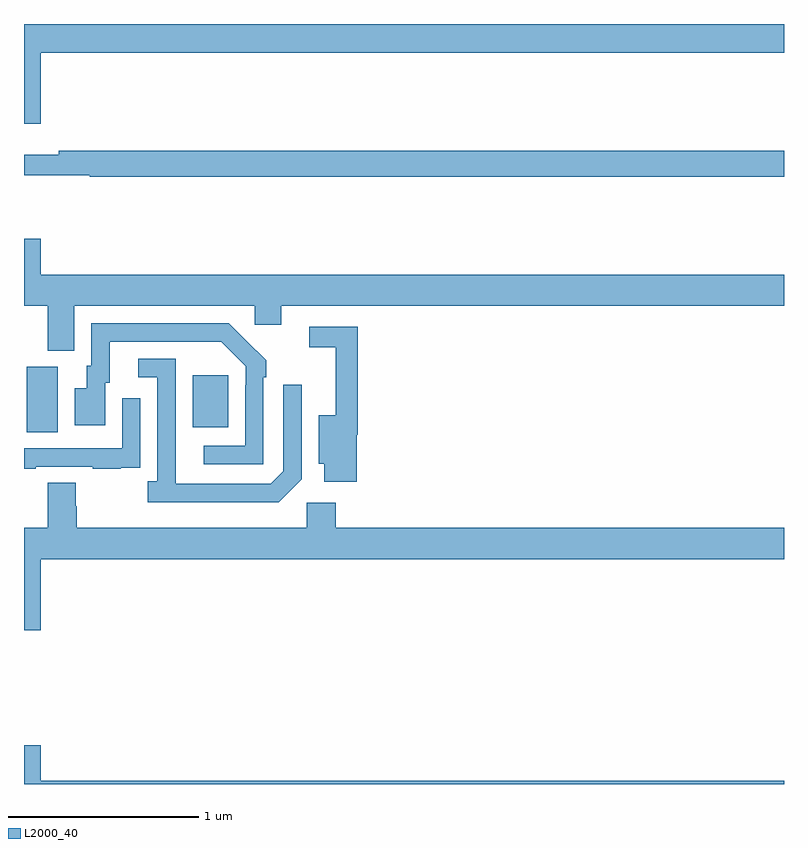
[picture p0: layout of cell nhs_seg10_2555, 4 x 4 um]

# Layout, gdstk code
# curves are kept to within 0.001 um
import gdstk
lib = gdstk.Library(unit=1e-6, precision=1e-09)
def R(c, l, rs):  # rectangles x0, y0, x1, y1
    for r in rs: c.add(gdstk.rectangle(r[:2], r[2:], *l))
def P(c, l, *ps):  # polygons
    for p in ps: c.add(gdstk.Polygon(p, *l))
L2000_40 = (2000, 40)

nhs_seg10_2555 = lib.new_cell('nhs_seg10_2555')
R(nhs_seg10_2555, L2000_40, [(249.014,1266.352,249.178,1266.696), (249.887,1266.377,250.075,1266.652)])
P(nhs_seg10_2555, L2000_40, [(249.088,1268.348),(253,1268.348),(253,1268.5),(249,1268.5),(249,1267.974),(249.088,1267.974)],
  [(253,1267.832),(249.184,1267.832),(249.184,1267.813),(249,1267.813),(249,1267.704),(249.345,1267.704),(249.345,1267.696),(253,1267.696)],
  [(249.265,1267.016),(250.215,1267.016),(250.215,1266.918),(250.354,1266.918),(250.354,1267.016),(253,1267.016),(253,1267.18),(249.088,1267.18),(249.088,1267.369),(249,1267.369),(249,1267.016),(249.125,1267.016),(249.125,1266.781),(249.265,1266.781)],
  [(250.26,1266.641),(250.275,1266.641),(250.275,1266.729),(250.078,1266.924),(249.354,1266.924),(249.354,1266.702),(249.329,1266.702),(249.329,1266.583),(249.266,1266.583),(249.266,1266.387),(249.427,1266.387),(249.427,1266.612),(249.451,1266.612),(249.451,1266.828),(250.039,1266.828),(250.167,1266.699),(250.167,1266.599),(250.164,1266.599),(250.164,1266.279),(249.945,1266.279),(249.945,1266.183),(250.26,1266.183)],
  [(250.751,1266.338),(250.757,1266.338),(250.757,1266.906),(250.5,1266.906),(250.5,1266.798),(250.64,1266.798),(250.64,1266.442),(250.55,1266.442),(250.55,1266.185),(250.58,1266.185),(250.58,1266.09),(250.751,1266.09)],
  [(250.461,1266.105),(250.461,1266.601),(250.365,1266.601),(250.365,1266.147),(250.299,1266.081),(249.799,1266.081),(249.798,1266.738),(249.6,1266.738),(249.6,1266.642),(249.702,1266.642),(249.702,1266.094),(249.651,1266.094),(249.651,1265.984),(250.34,1265.984)],
  [(249.061,1266.171),(249.361,1266.171),(249.361,1266.159),(249.509,1266.159),(249.509,1266.165),(249.611,1266.165),(249.611,1266.274),(249.612,1266.274),(249.612,1266.529),(249.516,1266.529),(249.516,1266.267),(249,1266.267),(249,1266.159),(249.061,1266.159)],
  [(249.088,1265.684),(253,1265.684),(253,1265.848),(250.64,1265.848),(250.64,1265.98),(250.488,1265.98),(250.488,1265.848),(249.278,1265.848),(249.278,1265.961),(249.273,1265.961),(249.273,1266.086),(249.125,1266.086),(249.125,1265.848),(249,1265.848),(249,1265.31),(249.088,1265.31)],
  [(253,1264.516),(249.088,1264.516),(249.088,1264.705),(249,1264.705),(249,1264.5),(253,1264.5)])

lib.write_gds('nhs_seg10_2555.gds')
